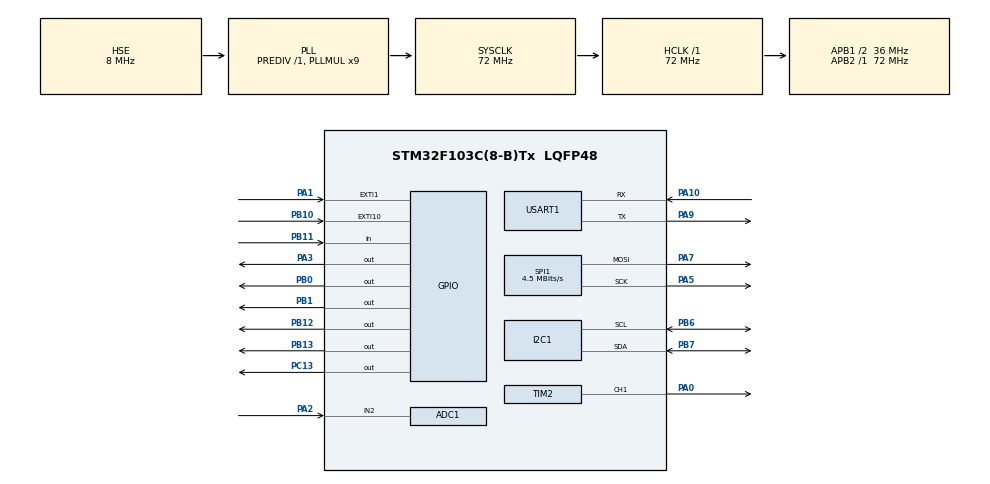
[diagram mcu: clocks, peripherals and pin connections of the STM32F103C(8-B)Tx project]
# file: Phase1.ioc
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ADC1.Channel-0\#ChannelRegularConversion=ADC_CHANNEL_2
ADC1.ExternalTrigConv=ADC_EXTERNALTRIGCONV_T3_TRGO
ADC1.NbrOfConversionFlag=1
ADC1.Rank-0\#ChannelRegularConversion=1
ADC1.SamplingTime-0\#ChannelRegularConversion=ADC_SAMPLETIME_1CYCLE_5
ADC1.master=1
Dma.ADC1.1.Direction=DMA_PERIPH_TO_MEMORY
Dma.ADC1.1.Instance=DMA1_Channel1
Dma.ADC1.1.MemDataAlignment=DMA_MDATAALIGN_HALFWORD
Dma.ADC1.1.MemInc=DMA_MINC_ENABLE
Dma.ADC1.1.Mode=DMA_CIRCULAR
Dma.ADC1.1.PeriphDataAlignment=DMA_PDATAALIGN_HALFWORD
Dma.ADC1.1.PeriphInc=DMA_PINC_DISABLE
Dma.ADC1.1.Priority=DMA_PRIORITY_LOW
Dma.Request0=SPI1_TX
Dma.Request1=ADC1
Dma.SPI1_TX.0.Direction=DMA_MEMORY_TO_PERIPH
Dma.SPI1_TX.0.Instance=DMA1_Channel3
Dma.SPI1_TX.0.MemDataAlignment=DMA_MDATAALIGN_BYTE
Dma.SPI1_TX.0.MemInc=DMA_MINC_ENABLE
Dma.SPI1_TX.0.Mode=DMA_NORMAL
Dma.SPI1_TX.0.PeriphDataAlignment=DMA_PDATAALIGN_BYTE
Dma.SPI1_TX.0.PeriphInc=DMA_PINC_DISABLE
Dma.SPI1_TX.0.Priority=DMA_PRIORITY_LOW
Mcu.Family=STM32F1
Mcu.Name=STM32F103C(8-B)Tx
Mcu.Package=LQFP48
NVIC.DMA1_Channel1_IRQn=true\:0\:0\:false\:false\:true\:false\:true\:true
NVIC.DMA1_Channel3_IRQn=true\:0\:0\:false\:false\:true\:false\:true\:true
NVIC.EXTI15_10_IRQn=true\:1\:0\:true\:false\:true\:true\:true\:true
NVIC.EXTI1_IRQn=true\:1\:0\:true\:false\:true\:true\:true\:true
NVIC.PriorityGroup=NVIC_PRIORITYGROUP_4
PA0-WKUP.Signal=S_TIM2_CH1_ETR
PA1.GPIO_ModeDefaultEXTI=GPIO_MODE_IT_RISING_FALLING
PA1.Signal=GPXTI1
PA10.Mode=Asynchronous
PA10.Signal=USART1_RX
PA13.Mode=Serial_Wire
PA13.Signal=SYS_JTMS-SWDIO
PA14.Mode=Serial_Wire
PA14.Signal=SYS_JTCK-SWCLK
PA2.Signal=ADCx_IN2
PA3.Signal=GPIO_Output
PA5.Mode=TX_Only_Simplex_Unidirect_Master
PA5.Signal=SPI1_SCK
PA7.Mode=TX_Only_Simplex_Unidirect_Master
PA7.Signal=SPI1_MOSI
PA9.Mode=Asynchronous
PA9.Signal=USART1_TX
PB0.Signal=GPIO_Output
PB1.Signal=GPIO_Output
PB10.GPIO_PuPd=GPIO_PULLDOWN
PB10.Signal=GPXTI10
PB11.Signal=GPIO_Input
PB12.Signal=GPIO_Output
PB13.Signal=GPIO_Output
PB6.Mode=I2C
PB6.Signal=I2C1_SCL
PB7.Mode=I2C
PB7.Signal=I2C1_SDA
PC13-TAMPER-RTC.Signal=GPIO_Output
PD0-OSC_IN.Mode=HSE-External-Oscillator
PD0-OSC_IN.Signal=RCC_OSC_IN
PD1-OSC_OUT.Mode=HSE-External-Oscillator
PD1-OSC_OUT.Signal=RCC_OSC_OUT
ProjectManager.HeapSize=0x200
ProjectManager.StackSize=0x400
ProjectManager.TargetToolchain=STM32CubeIDE
RCC.ADCPresc=RCC_ADCPCLK2_DIV6
RCC.AHBFreq_Value=72000000
RCC.APB1CLKDivider=RCC_HCLK_DIV2
RCC.APB1Freq_Value=36000000
RCC.APB1TimFreq_Value=72000000
RCC.APB2Freq_Value=72000000
RCC.APB2TimFreq_Value=72000000
RCC.HCLKFreq_Value=72000000
RCC.PLLMUL=RCC_PLL_MUL9
RCC.PLLSourceVirtual=RCC_PLLSOURCE_HSE
RCC.SYSCLKFreq_VALUE=72000000
RCC.SYSCLKSource=RCC_SYSCLKSOURCE_PLLCLK
RCC.USBFreq_Value=72000000
SH.ADCx_IN2.0=ADC1_IN2,IN2
SH.S_TIM2_CH1_ETR.0=TIM2_CH1,PWM Generation1 CH1
SPI1.BaudRatePrescaler=SPI_BAUDRATEPRESCALER_16
SPI1.CalculateBaudRate=4.5 MBits/s
SPI1.Direction=SPI_DIRECTION_2LINES
SPI1.Mode=SPI_MODE_MASTER
SPI1.VirtualType=VM_MASTER
TIM2.AutoReloadPreload=TIM_AUTORELOAD_PRELOAD_ENABLE
TIM2.Channel-PWM\ Generation1\ CH1=TIM_CHANNEL_1
TIM2.Period=47999
TIM2.Prescaler=2
TIM3.AutoReloadPreload=TIM_AUTORELOAD_PRELOAD_ENABLE
TIM3.Period=47999
TIM3.Prescaler=2
TIM3.TIM_MasterOutputTrigger=TIM_TRGO_UPDATE
USART1.VirtualMode=VM_ASYNC
VP_TIM3_VS_ClockSourceINT.Mode=Internal
board=custom

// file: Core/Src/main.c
/* USER CODE BEGIN Header */
/**
  ******************************************************************************
  * @file           : main.c
  * @brief          : Main program body
  ******************************************************************************
  * @attention
  *
  * Copyright (c) 2025 STMicroelectronics.
  * All rights reserved.
  *
  * This software is licensed under terms that can be found in the LICENSE file
  * in the root directory of this software component.
  * If no LICENSE file comes with this software, it is provided AS-IS.
  *
  ******************************************************************************
  */
/* USER CODE END Header */
#include "main.h"

/* USER CODE BEGIN Includes */
#include <stdio.h>
#include <string.h>
#include <stdbool.h>
#include "u8g2.h"
#include "MAX30100_PulseOximeter.h" // For Heart Rate sensor
#include <math.h>
/* USER CODE END Includes */

/* USER CODE BEGIN PTD */
#define WAVEFORM_BUFFER_SIZE 512 // Reduced buffer size for efficiency
// MERGE: Brought over the Circular Buffer definition
typedef struct {
    uint16_t buffer[WAVEFORM_BUFFER_SIZE];
    int head; // Index of the next position to write to
} CircularBuffer_t;

typedef struct {
    uint8_t seconds;
    uint8_t minutes;
    uint8_t hour;
    uint8_t dayofweek;
    uint8_t dayofmonth;
    uint8_t month;
    uint8_t year;
} DS3231_Time;

/* USER CODE END PTD */

/* USER CODE BEGIN PD */
// --- Page state defines ---
#define PAGE_TEMP 0
#define PAGE_HEART_RATE 1

// --- Temperature Sensor Defines ---
#define MLX90614_I2C_ADDRESS    (0x5A << 1)
#define MLX90614_TOBJ1          0x07
#define DS3231_I2C_ADDRESS      (0x68 << 1) // Added RTC I2C address

// --- Heart Rate Sensor Defines ---
#define X_SCALE 4

// --- NEW: Power Management Variables ---
#define ACTIVE_TIMEOUT_MS 180000          // 2 minutes (3 * 60 * 1000)
#define ADC_BUF_LEN 16
/* USER CODE END PD */

ADC_HandleTypeDef hadc1;
DMA_HandleTypeDef hdma_adc1;

I2C_HandleTypeDef hi2c1;

SPI_HandleTypeDef hspi1;
DMA_HandleTypeDef hdma_spi1_tx;

TIM_HandleTypeDef htim2;
TIM_HandleTypeDef htim3;

UART_HandleTypeDef huart1;

/* USER CODE BEGIN PV */

// --- Display & State Variables ---
u8g2_t u8g2;
uint8_t currentPage = PAGE_TEMP;
volatile uint8_t spi_dma_finished = 1; // MERGE: DMA flag

// --- Temperature Page Variables ---
float object_temp_c;
char temp_str[20], temp[30];

// --- Heart Rate Page Variables ---
PulseOximeter_t pox;
CircularBuffer_t waveform; // MERGE: Use circular buffer
float bpm = 0;
uint8_t spO2 = 0;
char statusStr[32] = "--";
char bpmStr[32] = "--";
uint16_t waveformMin = 65535;
uint16_t waveformMax = 0;
bool fan_is_running = false;
uint32_t fan_stop_timestamp = 0;
volatile bool onBeatDetected = false;
volatile bool beat_indicator_active = false;
volatile uint32_t beat_timestamp = 0;
volatile bool heartbeat_active = false;
volatile uint32_t heartbeat_timestamp = 0;

// --- NEW: Power Management Variables ---
volatile bool is_active = false;            // Start in the inactive (sleep) state
volatile uint32_t last_motion_time = 0;   // Timestamp of the last detected motion
volatile bool just_woke_up = false;         // NEW: Flag to handle tasks right after waking
volatile bool is_in_calibration = true;   // NEW: Flag for 1-minute startup calibration

//Flame sensor
uint16_t adc_buf[ADC_BUF_LEN];
volatile bool adcDataReadyFlag = false;
uint16_t avg_adc_val=0;
/* USER CODE END PV */

void SystemClock_Config(void);
static void MX_GPIO_Init(void);
static void MX_DMA_Init(void);
static void MX_I2C1_Init(void);
static void MX_TIM3_Init(void);
static void MX_USART1_UART_Init(void);
static void MX_SPI1_Init(void);
static void MX_ADC1_Init(void);
static void MX_TIM2_Init(void);
/* USER CODE BEGIN PFP */

// Display driver prototypes
uint8_t u8x8_byte_4wire_hw_spi(u8x8_t *u8x8, uint8_t msg, uint8_t arg_int, void *arg_ptr);
uint8_t u8x8_stm32_gpio_and_delay(u8x8_t *u8x8, uint8_t msg, uint8_t arg_int, void *arg_ptr);

// Page drawing prototypes
void drawTemperaturePage(void);
void drawHeartRatePage(void);

// Helper function prototypes
void I2C_ClearBus(I2C_HandleTypeDef *hi2c);
void onBeatDetected_callback();
int32_t map(int32_t x, int32_t in_min, int32_t in_max, int32_t out_min, int32_t out_max);
void CBuffer_init(CircularBuffer_t *cb);
void CBuffer_add(CircularBuffer_t *cb, uint16_t value);
uint16_t CBuffer_get(CircularBuffer_t *cb, int index);

//flame sensor
void flameSensor(void);
void drawFlameAlertPage(int fan_speed_percent);

/* USER CODE END PFP */

/* USER CODE BEGIN 0 */

void CBuffer_init(CircularBuffer_t *cb) {
    cb->head = 0;
    memset(cb->buffer, 0, sizeof(cb->buffer));
}

void CBuffer_add(CircularBuffer_t *cb, uint16_t value) {
    cb->buffer[cb->head] = value;
    cb->head = (cb->head + 1) % WAVEFORM_BUFFER_SIZE;
}

uint16_t CBuffer_get(CircularBuffer_t *cb, int index) {
    int physical_index = (cb->head + index) % WAVEFORM_BUFFER_SIZE;
    return cb->buffer[physical_index];
}

void I2C_ClearBus(I2C_HandleTypeDef *hi2c) {
    GPIO_InitTypeDef GPIO_InitStruct;

    // First, de-initialize the I2C peripheral to take control of the pins
    HAL_I2C_DeInit(hi2c);

    // Re-configure the SCL pin as a GPIO output (open-drain)
    GPIO_InitStruct.Pin = GPIO_PIN_6;
    GPIO_InitStruct.Mode = GPIO_MODE_OUTPUT_OD;
    GPIO_InitStruct.Pull = GPIO_PULLUP;
    GPIO_InitStruct.Speed = GPIO_SPEED_FREQ_HIGH;
    HAL_GPIO_Init(GPIOB, &GPIO_InitStruct);

    if (HAL_GPIO_ReadPin(GPIOB, GPIO_PIN_6) == GPIO_PIN_RESET)
    {
    // Toggle SCL 9 times to clear the bus
		for(int i = 0; i < 9; i++) {
			HAL_GPIO_WritePin(GPIOB, GPIO_PIN_6, GPIO_PIN_RESET);
			HAL_Delay(1);
			HAL_GPIO_WritePin(GPIOB, GPIO_PIN_6, GPIO_PIN_SET);
			HAL_Delay(1);
			if (HAL_GPIO_ReadPin(GPIOB, GPIO_PIN_7) == GPIO_PIN_SET)
			{
				break; // SDA released
			}
		}

    }
    // After clearing, re-initialize the I2C peripheral
    MX_I2C1_Init();
}

// This will be used to map temperature to the thermometer bar's width.
int32_t map(int32_t x, int32_t in_min, int32_t in_max, int32_t out_min, int32_t out_max) {
  if (in_max == in_min) return out_min;
  return (x - in_min) * (out_max - out_min) / (in_max - in_min) + out_min;
}

void drawHeart(u8g2_t *u8g2, int x, int y, int size)
{
    // Two circles for the top lobes
    u8g2_DrawDisc(u8g2, x - size/4, y, size/4, U8G2_DRAW_ALL);
    u8g2_DrawDisc(u8g2, x + size/4, y, size/4, U8G2_DRAW_ALL);
    // Triangle for the bottom point
    u8g2_DrawTriangle(u8g2, x - size/2, y, x + size/2, y, x, y + size/2 + 1);
}

HAL_StatusTypeDef MLX90614_ReadReg(uint8_t reg_address, uint16_t *data) {
    HAL_StatusTypeDef status;
    uint8_t rx_buffer[3];
    status = HAL_I2C_Mem_Read(&hi2c1, MLX90614_I2C_ADDRESS, reg_address,
                              I2C_MEMADD_SIZE_8BIT, rx_buffer, 3, 100);
    if (status != HAL_OK) return status;
    *data = (uint16_t)rx_buffer[0] | ((uint16_t)rx_buffer[1] << 8);
    return HAL_OK;
}

float MLX90614_CalcTemp(uint16_t raw_data) {
    return (float)raw_data * 0.02 - 273.15;
}

uint8_t BCD_to_Decimal(uint8_t bcd) {
    return (bcd >> 4) * 10 + (bcd & 0x0F);
}

HAL_StatusTypeDef DS3231_GetTime(DS3231_Time *time) {
    uint8_t rx_buffer[7];
    HAL_StatusTypeDef status;
    status = HAL_I2C_Mem_Read(&hi2c1, DS3231_I2C_ADDRESS, 0x00,
                              I2C_MEMADD_SIZE_8BIT, rx_buffer, 7, 100);
    if (status == HAL_OK) {
        time->seconds    = BCD_to_Decimal(rx_buffer[0]);
        time->minutes    = BCD_to_Decimal(rx_buffer[1]);
        time->hour       = BCD_to_Decimal(rx_buffer[2]);
        time->dayofmonth = BCD_to_Decimal(rx_buffer[4]);
        time->month      = BCD_to_Decimal(rx_buffer[5]);
        time->year       = BCD_to_Decimal(rx_buffer[6]);
    }
    return status;
}

/* USER CODE END 0 */

int main(void)
{

  /* MCU Configuration--------------------------------------------------------*/

  /* Reset of all peripherals, Initializes the Flash interface and the Systick. */
  HAL_Init();

  /* Configure the system clock */
  SystemClock_Config();

  /* Initialize all configured peripherals */
  MX_GPIO_Init();
  MX_DMA_Init();
  MX_I2C1_Init();
  MX_TIM3_Init();
  MX_USART1_UART_Init();
  MX_SPI1_Init();
  MX_ADC1_Init();
  MX_TIM2_Init();
  /* USER CODE BEGIN 2 */
  // --- Start Timers, ADC, and PWM ---
  HAL_TIM_Base_Start(&htim3);
  HAL_TIM_PWM_Start(&htim2, TIM_CHANNEL_1);
  //Calibrate the adc on power-up for better accuracy
  HAL_ADCEx_Calibration_Start(&hadc1);
  //Read the sensor once to get the ambient level
  HAL_ADC_Start_DMA(&hadc1,(uint32_t*)adc_buf,ADC_BUF_LEN);

  u8g2_Setup_sh1106_128x64_noname_f(&u8g2, U8G2_R0, u8x8_byte_4wire_hw_spi, u8x8_stm32_gpio_and_delay);
  u8g2_InitDisplay(&u8g2);
  u8g2_SetPowerSave(&u8g2, 0); // Put display to wake

  I2C_ClearBus(&hi2c1); // Clear bus for both I2C sensors

  // MERGE: Initialize Heart Rate Sensor and Circular Buffer
  CBuffer_init(&waveform);
  PulseOximeter_init(&pox);
  // --- REGISTER THE CALLBACK ---
  BeatDetector_setOnBeatDetectedCallback(&pox.beatDetector, onBeatDetected_callback);

  if (PulseOximeter_begin(&pox, &hi2c1)) {
    PulseOximeter_setIRLedCurrent(&pox, MAX30100_LED_CURR_14_2MA);
  } else {
    // Handle heart rate sensor init error if needed
    while(1);
  }

  // --- CHANGE: Set initial state to ACTIVE and start timers ---
  is_active = true;
  just_woke_up = true; // Set to true to run wake-up routine once
  last_motion_time = HAL_GetTick(); // Start the 2-minute timer immediately
  uint32_t start_time = HAL_GetTick(); // Record the power-on time for calibration
  uint32_t last_sensor_read_time = 0;
  uint32_t last_display_update_time = 0;
  uint16_t raw_object_temp;
  uint8_t last_ir_state = GPIO_PIN_SET; // Start with the sensor uncovered
  uint32_t last_flip_time = 0;

  /* USER CODE END 2 */

  /* Infinite loop */
  while (1)
  {

    /* USER CODE BEGIN 3 */

		// MERGE: ALWAYS update the heart rate sensor to keep the algorithm running
		PulseOximeter_update(&pox);

	    // --- FLAME SENSOR (HIGHEST PRIORITY) ---
	    // 1. Check if new ADC data is available
	    if (adcDataReadyFlag == true) {
	        adcDataReadyFlag = false; // Reset the flag immediately
	        flameSensor(); // Calculate the average flame sensor value
	    }
	    // Let's define two thresholds now
	    const uint16_t FLAME_ALERT_THRESHOLD = 1000; // A very strong flame
	    const uint16_t FLAME_DETECT_THRESHOLD = 3500; // Any detectable flame
	    // 2. Check if a high-priority flame event has occurred
	    // Let's define a flame alert threshold, e.g., 3500
	    if (avg_adc_val < FLAME_DETECT_THRESHOLD && avg_adc_val > 10)
	    {
	        // --- FLAME ALERT MODE ---
	        fan_is_running = true; // Mark the fan as active
	        fan_stop_timestamp = 0;  // Reset the stop timer every time flame is seen

	        // 2. Set the Fan Speed based on flame intensity
	        if (avg_adc_val < FLAME_ALERT_THRESHOLD) { // Strong Flame
	            // Set fan to MAX SPEED (100%)
	        	__HAL_TIM_SET_COMPARE(&htim2, TIM_CHANNEL_1, 48000);
		        // Sound the buzzer (assuming buzzer is on PB13)
		        HAL_GPIO_WritePin(GPIOB, GPIO_PIN_13, GPIO_PIN_RESET); // Active low buzzer

		        // Show the alert page
		        drawFlameAlertPage(100);
	        } else { // Weaker Flame (between 1000 and 3499)
	            // Set fan to HALF SPEED (50%)
	        	__HAL_TIM_SET_COMPARE(&htim2, TIM_CHANNEL_1, 33600);
		        // Sound the buzzer (assuming buzzer is on PB13)
		        HAL_GPIO_WritePin(GPIOB, GPIO_PIN_13, GPIO_PIN_RESET); // Active low buzzer

		        // Show the alert page
		        drawFlameAlertPage(70);
	        }

	        // Skip all other logic
	        continue;
	    }
		 else{
		        // Check if the fan was running and needs to be turned off after a delay
		        if (fan_is_running) {
			        // --- NO FLAME DETECTED ---
			        HAL_GPIO_WritePin(GPIOB, GPIO_PIN_13, GPIO_PIN_SET); // Buzzer OFF
					last_motion_time = HAL_GetTick();

		            if (fan_stop_timestamp == 0) {
		                // This is the first moment we've seen the flame is gone.
		                // Record the timestamp.
		            	__HAL_TIM_SET_COMPARE(&htim2, TIM_CHANNEL_1, 33600);
		                fan_stop_timestamp = HAL_GetTick();
		            }

		            // Check if 10 seconds (10000 ms) have passed since the flame disappeared
		            if (HAL_GetTick() - fan_stop_timestamp > 10000) {
		                // 10 seconds have passed, so turn the fan off and reset state
		                __HAL_TIM_SET_COMPARE(&htim2, TIM_CHANNEL_1, 0); // Fan OFF
		                fan_is_running = false;
		                fan_stop_timestamp = 0;
		            }
		        }
		        // --- NEW: Handle the 1-minute calibration period ---
			if (is_in_calibration) {
				if (HAL_GetTick() - start_time > 60000) { // 60 seconds have passed
					is_in_calibration = false;
				}
			}

			if (is_active)
			{
				// --- CHECK IF WE JUST WOKE UP ---
				if (just_woke_up) {
					just_woke_up = false; // Clear the flag

					// Now that the clock is stable, wake up the display
					u8g2_SetPowerSave(&u8g2, 0);

					// Re-initialize the I2C bus and the HR sensor to give them a fresh start
					I2C_ClearBus(&hi2c1);

					// Wake the sensor up
					MAX30100_resume(&pox.hrm);
				}

				// --- ACTIVE MODE ---
			if (pox.latestIRValue > 0) {
				CBuffer_add(&waveform, pox.latestIRValue);
			}

			if(onBeatDetected == true){
				onBeatDetected = false;
				if(bpm>40 && (currentPage == PAGE_HEART_RATE)){
					 HAL_GPIO_WritePin(GPIOC, GPIO_PIN_13, GPIO_PIN_RESET);
					 HAL_GPIO_WritePin(GPIOB, GPIO_PIN_13, GPIO_PIN_RESET);
						last_motion_time = HAL_GetTick();

					 // Trigger heart animation
					 heartbeat_active = true;
					 heartbeat_timestamp = HAL_GetTick();

						// Start the timer for the LED/Buzzer blip
						beat_indicator_active = true;
						beat_timestamp = HAL_GetTick();
				}
			}

			// This block is checked on every loop to see if it's time to turn things off.
			if (beat_indicator_active && (HAL_GetTick() - beat_timestamp > 50)) {
				// Turn OFF the LED and Buzzer
				HAL_GPIO_WritePin(GPIOC, GPIO_PIN_13, GPIO_PIN_SET);
				HAL_GPIO_WritePin(GPIOB, GPIO_PIN_13, GPIO_PIN_SET);

				beat_indicator_active = false; // Stop checking until the next beat
			}

			// --- 1. PERIODIC SENSOR READS AND CALCULATIONS (every 500ms) ---
			if(HAL_GetTick() - last_sensor_read_time >= 500){
				last_sensor_read_time = HAL_GetTick();
				//Read the temperature from the MLX90614 sensor
				if (MLX90614_ReadReg(MLX90614_TOBJ1, &raw_object_temp) == HAL_OK) {
					object_temp_c = MLX90614_CalcTemp(raw_object_temp);
				} else {
					object_temp_c = -99.9; // Use a specific value to indicate an error
				}
				// 2. Format the temperature value into a display-ready string
				snprintf(temp_str, sizeof(temp_str), "%.1f C", object_temp_c);

				// Get Heart Rate Sensor Data
				bpm = PulseOximeter_getHeartRate(&pox);
				spO2 = PulseOximeter_getSpO2(&pox);

				if (bpm > 40 && (currentPage == PAGE_HEART_RATE)) {
					sprintf(bpmStr, "%.0f", bpm);
					sprintf(statusStr, "%u%%", spO2);

						// Recalculate waveform scale
						waveformMin = 65535;
						waveformMax = 0;
						for (int i = 0; i < WAVEFORM_BUFFER_SIZE; ++i) {
							uint16_t val = CBuffer_get(&waveform, i);
							if (val > waveformMax) waveformMax = val;
							if (val < waveformMin) waveformMin = val;
						}
				} else {
					sprintf(bpmStr, "--");
					sprintf(statusStr, "--");
				}
			}
			// --- 2. CHECK FOR PAGE SWITCH (IR SENSOR) ---
			uint8_t current_ir_state = HAL_GPIO_ReadPin(GPIOB, GPIO_PIN_11);

			// Check for a "falling edge" (from not-covered to covered)
			// and make sure enough time has passed since the last flip (debounce)
			if (current_ir_state == GPIO_PIN_RESET && last_ir_state == GPIO_PIN_SET && (HAL_GetTick() - last_flip_time > 500))
			{
				// Toggle the page
				currentPage = (currentPage == PAGE_TEMP) ? PAGE_HEART_RATE : PAGE_TEMP;

				// Record the time of this flip to prevent rapid re-triggering
				last_flip_time = HAL_GetTick();
			}
			// Update the last state for the next loop iteration
			last_ir_state = current_ir_state;

			// --- 3. DYNAMIC DISPLAY UPDATE ---
			uint32_t display_interval = (currentPage == PAGE_HEART_RATE) ? 40 : 200; // Fast for HR, slow for Temp
			if (HAL_GetTick() - last_display_update_time > display_interval) {
				last_display_update_time = HAL_GetTick();

				// Call the appropriate drawing function based on the current page
				if (currentPage == PAGE_TEMP) {
					drawTemperaturePage();
				} else {
					drawHeartRatePage();
				}
			}
			HAL_Delay(2);
			// Check if the 5-minute active timer has expired
			if (HAL_GetTick() - last_motion_time > ACTIVE_TIMEOUT_MS)
			{
				is_active = false;        // Go back to the inactive state
				u8g2_SetPowerSave(&u8g2, 1); // Put the display to sleep
			}
		  }
		  else
		  {
			  // --- DEEP SLEEP MODE ---
			  MAX30100_shutdown(&pox.hrm);

			  // Halt the CPU and wait for an interrupt (from the PIR sensor)
			  HAL_PWR_EnterSLEEPMode(PWR_MAINREGULATOR_ON, PWR_SLEEPENTRY_WFI);
		  }
		 }
  }

  /* USER CODE END 3 */
}

void SystemClock_Config(void)
{
  RCC_OscInitTypeDef RCC_OscInitStruct = {0};
  RCC_ClkInitTypeDef RCC_ClkInitStruct = {0};
  RCC_PeriphCLKInitTypeDef PeriphClkInit = {0};

  /** Initializes the RCC Oscillators according to the specified parameters
  * in the RCC_OscInitTypeDef structure.
  */
  RCC_OscInitStruct.OscillatorType = RCC_OSCILLATORTYPE_HSE;
  RCC_OscInitStruct.HSEState = RCC_HSE_ON;
  RCC_OscInitStruct.HSEPredivValue = RCC_HSE_PREDIV_DIV1;
  RCC_OscInitStruct.HSIState = RCC_HSI_ON;
  RCC_OscInitStruct.PLL.PLLState = RCC_PLL_ON;
  RCC_OscInitStruct.PLL.PLLSource = RCC_PLLSOURCE_HSE;
  RCC_OscInitStruct.PLL.PLLMUL = RCC_PLL_MUL9;
  if (HAL_RCC_OscConfig(&RCC_OscInitStruct) != HAL_OK)
  {
    Error_Handler();
  }

  /** Initializes the CPU, AHB and APB buses clocks
  */
  RCC_ClkInitStruct.ClockType = RCC_CLOCKTYPE_HCLK|RCC_CLOCKTYPE_SYSCLK
                              |RCC_CLOCKTYPE_PCLK1|RCC_CLOCKTYPE_PCLK2;
  RCC_ClkInitStruct.SYSCLKSource = RCC_SYSCLKSOURCE_PLLCLK;
  RCC_ClkInitStruct.AHBCLKDivider = RCC_SYSCLK_DIV1;
  RCC_ClkInitStruct.APB1CLKDivider = RCC_HCLK_DIV2;
  RCC_ClkInitStruct.APB2CLKDivider = RCC_HCLK_DIV1;

  if (HAL_RCC_ClockConfig(&RCC_ClkInitStruct, FLASH_LATENCY_2) != HAL_OK)
  {
    Error_Handler();
  }
  PeriphClkInit.PeriphClockSelection = RCC_PERIPHCLK_ADC;
  PeriphClkInit.AdcClockSelection = RCC_ADCPCLK2_DIV6;
  if (HAL_RCCEx_PeriphCLKConfig(&PeriphClkInit) != HAL_OK)
  {
    Error_Handler();
  }
}

static void MX_ADC1_Init(void)
{

  ADC_ChannelConfTypeDef sConfig = {0};

  /** Common config
  */
  hadc1.Instance = ADC1;
  hadc1.Init.ScanConvMode = ADC_SCAN_DISABLE;
  hadc1.Init.ContinuousConvMode = DISABLE;
  hadc1.Init.DiscontinuousConvMode = DISABLE;
  hadc1.Init.ExternalTrigConv = ADC_EXTERNALTRIGCONV_T3_TRGO;
  hadc1.Init.DataAlign = ADC_DATAALIGN_RIGHT;
  hadc1.Init.NbrOfConversion = 1;
  if (HAL_ADC_Init(&hadc1) != HAL_OK)
  {
    Error_Handler();
  }

  /** Configure Regular Channel
  */
  sConfig.Channel = ADC_CHANNEL_2;
  sConfig.Rank = ADC_REGULAR_RANK_1;
  sConfig.SamplingTime = ADC_SAMPLETIME_1CYCLE_5;
  if (HAL_ADC_ConfigChannel(&hadc1, &sConfig) != HAL_OK)
  {
    Error_Handler();
  }

}

static void MX_I2C1_Init(void)
{

  hi2c1.Instance = I2C1;
  hi2c1.Init.ClockSpeed = 100000;
  hi2c1.Init.DutyCycle = I2C_DUTYCYCLE_2;
  hi2c1.Init.OwnAddress1 = 0;
  hi2c1.Init.AddressingMode = I2C_ADDRESSINGMODE_7BIT;
  hi2c1.Init.DualAddressMode = I2C_DUALADDRESS_DISABLE;
  hi2c1.Init.OwnAddress2 = 0;
  hi2c1.Init.GeneralCallMode = I2C_GENERALCALL_DISABLE;
  hi2c1.Init.NoStretchMode = I2C_NOSTRETCH_DISABLE;
  if (HAL_I2C_Init(&hi2c1) != HAL_OK)
  {
    Error_Handler();
  }

}

static void MX_SPI1_Init(void)
{

  /* SPI1 parameter configuration*/
  hspi1.Instance = SPI1;
  hspi1.Init.Mode = SPI_MODE_MASTER;
  hspi1.Init.Direction = SPI_DIRECTION_2LINES;
  hspi1.Init.DataSize = SPI_DATASIZE_8BIT;
  hspi1.Init.CLKPolarity = SPI_POLARITY_LOW;
  hspi1.Init.CLKPhase = SPI_PHASE_1EDGE;
  hspi1.Init.NSS = SPI_NSS_SOFT;
  hspi1.Init.BaudRatePrescaler = SPI_BAUDRATEPRESCALER_16;
  hspi1.Init.FirstBit = SPI_FIRSTBIT_MSB;
  hspi1.Init.TIMode = SPI_TIMODE_DISABLE;
  hspi1.Init.CRCCalculation = SPI_CRCCALCULATION_DISABLE;
  hspi1.Init.CRCPolynomial = 10;
  if (HAL_SPI_Init(&hspi1) != HAL_OK)
  {
    Error_Handler();
  }

}

static void MX_TIM2_Init(void)
{

  TIM_MasterConfigTypeDef sMasterConfig = {0};
  TIM_OC_InitTypeDef sConfigOC = {0};

  htim2.Instance = TIM2;
  htim2.Init.Prescaler = 2;
  htim2.Init.CounterMode = TIM_COUNTERMODE_UP;
  htim2.Init.Period = 47999;
  htim2.Init.ClockDivision = TIM_CLOCKDIVISION_DIV1;
  htim2.Init.AutoReloadPreload = TIM_AUTORELOAD_PRELOAD_ENABLE;
  if (HAL_TIM_PWM_Init(&htim2) != HAL_OK)
  {
    Error_Handler();
  }
  sMasterConfig.MasterOutputTrigger = TIM_TRGO_RESET;
  sMasterConfig.MasterSlaveMode = TIM_MASTERSLAVEMODE_DISABLE;
  if (HAL_TIMEx_MasterConfigSynchronization(&htim2, &sMasterConfig) != HAL_OK)
  {
    Error_Handler();
  }
  sConfigOC.OCMode = TIM_OCMODE_PWM1;
  sConfigOC.Pulse = 0;
  sConfigOC.OCPolarity = TIM_OCPOLARITY_HIGH;
  sConfigOC.OCFastMode = TIM_OCFAST_DISABLE;
  if (HAL_TIM_PWM_ConfigChannel(&htim2, &sConfigOC, TIM_CHANNEL_1) != HAL_OK)
  {
    Error_Handler();
  }
  HAL_TIM_MspPostInit(&htim2);

}

static void MX_TIM3_Init(void)
{

  TIM_ClockConfigTypeDef sClockSourceConfig = {0};
  TIM_MasterConfigTypeDef sMasterConfig = {0};

  htim3.Instance = TIM3;
  htim3.Init.Prescaler = 2;
  htim3.Init.CounterMode = TIM_COUNTERMODE_UP;
  htim3.Init.Period = 47999;
  htim3.Init.ClockDivision = TIM_CLOCKDIVISION_DIV1;
  htim3.Init.AutoReloadPreload = TIM_AUTORELOAD_PRELOAD_ENABLE;
  if (HAL_TIM_Base_Init(&htim3) != HAL_OK)
  {
    Error_Handler();
  }
  sClockSourceConfig.ClockSource = TIM_CLOCKSOURCE_INTERNAL;
  if (HAL_TIM_ConfigClockSource(&htim3, &sClockSourceConfig) != HAL_OK)
  {
    Error_Handler();
  }
  sMasterConfig.MasterOutputTrigger = TIM_TRGO_UPDATE;
  sMasterConfig.MasterSlaveMode = TIM_MASTERSLAVEMODE_DISABLE;
  if (HAL_TIMEx_MasterConfigSynchronization(&htim3, &sMasterConfig) != HAL_OK)
  {
    Error_Handler();
  }

}

static void MX_USART1_UART_Init(void)
{

  huart1.Instance = USART1;
  huart1.Init.BaudRate = 115200;
  huart1.Init.WordLength = UART_WORDLENGTH_8B;
  huart1.Init.StopBits = UART_STOPBITS_1;
  huart1.Init.Parity = UART_PARITY_NONE;
  huart1.Init.Mode = UART_MODE_TX_RX;
  huart1.Init.HwFlowCtl = UART_HWCONTROL_NONE;
  huart1.Init.OverSampling = UART_OVERSAMPLING_16;
  if (HAL_UART_Init(&huart1) != HAL_OK)
  {
    Error_Handler();
  }

}

static void MX_DMA_Init(void)
{

  /* DMA controller clock enable */
  __HAL_RCC_DMA1_CLK_ENABLE();

  /* DMA interrupt init */
  /* DMA1_Channel1_IRQn interrupt configuration */
  HAL_NVIC_SetPriority(DMA1_Channel1_IRQn, 0, 0);
  HAL_NVIC_EnableIRQ(DMA1_Channel1_IRQn);
  /* DMA1_Channel3_IRQn interrupt configuration */
  HAL_NVIC_SetPriority(DMA1_Channel3_IRQn, 0, 0);
  HAL_NVIC_EnableIRQ(DMA1_Channel3_IRQn);

}

static void MX_GPIO_Init(void)
{
  GPIO_InitTypeDef GPIO_InitStruct = {0};

  /* GPIO Ports Clock Enable */
  __HAL_RCC_GPIOC_CLK_ENABLE();
  __HAL_RCC_GPIOD_CLK_ENABLE();
  __HAL_RCC_GPIOA_CLK_ENABLE();
  __HAL_RCC_GPIOB_CLK_ENABLE();

  /*Configure GPIO pin Output Level */
  HAL_GPIO_WritePin(GPIOC, GPIO_PIN_13, GPIO_PIN_SET);

  /*Configure GPIO pin Output Level */
  HAL_GPIO_WritePin(GPIOA, GPIO_PIN_3, GPIO_PIN_RESET);

  /*Configure GPIO pin Output Level */
  HAL_GPIO_WritePin(GPIOB, GPIO_PIN_0|GPIO_PIN_1|GPIO_PIN_12|GPIO_PIN_13, GPIO_PIN_RESET);

  /*Configure GPIO pin : PC13 */
  GPIO_InitStruct.Pin = GPIO_PIN_13;
  GPIO_InitStruct.Mode = GPIO_MODE_OUTPUT_PP;
  GPIO_InitStruct.Pull = GPIO_NOPULL;
  GPIO_InitStruct.Speed = GPIO_SPEED_FREQ_LOW;
  HAL_GPIO_Init(GPIOC, &GPIO_InitStruct);

  /*Configure GPIO pin : PA1 */
  GPIO_InitStruct.Pin = GPIO_PIN_1;
  GPIO_InitStruct.Mode = GPIO_MODE_IT_RISING_FALLING;
  GPIO_InitStruct.Pull = GPIO_NOPULL;
  HAL_GPIO_Init(GPIOA, &GPIO_InitStruct);

  /*Configure GPIO pin : PA3 */
  GPIO_InitStruct.Pin = GPIO_PIN_3;
  GPIO_InitStruct.Mode = GPIO_MODE_OUTPUT_PP;
  GPIO_InitStruct.Pull = GPIO_NOPULL;
  GPIO_InitStruct.Speed = GPIO_SPEED_FREQ_LOW;
  HAL_GPIO_Init(GPIOA, &GPIO_InitStruct);

  /*Configure GPIO pins : PB0 PB1 PB12 PB13 */
  GPIO_InitStruct.Pin = GPIO_PIN_0|GPIO_PIN_1|GPIO_PIN_12|GPIO_PIN_13;
  GPIO_InitStruct.Mode = GPIO_MODE_OUTPUT_PP;
  GPIO_InitStruct.Pull = GPIO_NOPULL;
  GPIO_InitStruct.Speed = GPIO_SPEED_FREQ_LOW;
  HAL_GPIO_Init(GPIOB, &GPIO_InitStruct);

  /*Configure GPIO pin : PB10 */
  GPIO_InitStruct.Pin = GPIO_PIN_10;
  GPIO_InitStruct.Mode = GPIO_MODE_IT_RISING;
  GPIO_InitStruct.Pull = GPIO_PULLDOWN;
  HAL_GPIO_Init(GPIOB, &GPIO_InitStruct);

  /*Configure GPIO pin : PB11 */
  GPIO_InitStruct.Pin = GPIO_PIN_11;
  GPIO_InitStruct.Mode = GPIO_MODE_INPUT;
  GPIO_InitStruct.Pull = GPIO_NOPULL;
  HAL_GPIO_Init(GPIOB, &GPIO_InitStruct);

  /* EXTI interrupt init*/
  HAL_NVIC_SetPriority(EXTI1_IRQn, 1, 0);
  HAL_NVIC_EnableIRQ(EXTI1_IRQn);

  HAL_NVIC_SetPriority(EXTI15_10_IRQn, 1, 0);
  HAL_NVIC_EnableIRQ(EXTI15_10_IRQn);

}

/* USER CODE BEGIN 4 */

void HAL_ADC_ConvCpltCallback(ADC_HandleTypeDef* hadc){
	//set the flag
	adcDataReadyFlag = true;
}

void flameSensor(void){
  //1. Calculate the average of the buffer
  uint32_t sum=0;
  for(int i=0; i<ADC_BUF_LEN;i++){
	  sum+=adc_buf[i];
  }
  avg_adc_val = sum/ADC_BUF_LEN;

}

void drawFlameAlertPage(int fan_speed_percent)
{
    char fan_speed_str[20];
    sprintf(fan_speed_str, "Fan: %d%%", fan_speed_percent);

    // Simple fan animation state
    static int fan_state = 0;
    fan_state = (fan_state + 1) % 4; // Cycle through 4 states
    char fan_char[] = "|/-\\";

    u8g2_FirstPage(&u8g2);
    do {
        // --- Draw Alert Message ---
        u8g2_SetFont(&u8g2, u8g2_font_ncenB10_tr);
        u8g2_DrawStr(&u8g2, 5, 20, "FLAME ALERT!");

        // --- Draw Fan Speed and Animation ---
        u8g2_SetFont(&u8g2, u8g2_font_7x13B_tr);
        u8g2_DrawStr(&u8g2, 10, 45, fan_speed_str);

        // Draw the spinning character next to the text
        char animation_str[2] = { fan_char[fan_state], '\0' };
        u8g2_DrawStr(&u8g2, 80, 45, animation_str);

    } while (u8g2_NextPage(&u8g2));
}

void HAL_GPIO_EXTI_Callback(uint16_t GPIO_Pin)
{
    // --- NEW: Ignore any triggers during the 1-minute startup calibration ---
    if (is_in_calibration) {
        return;
    }
    // Check if the interrupt was from the PIR Sensor (Motion)
    if (GPIO_Pin == GPIO_PIN_10) {
		// Any valid motion interrupt should reset the inactivity timer.
		last_motion_time = HAL_GetTick();

		 HAL_GPIO_TogglePin(GPIOB, GPIO_PIN_12);
			// If the device was asleep, this interrupt is a wake-up call.
			// Set the flags that the main loop will use to exit sleep mode.
			if (is_active == false) {
				is_active = true;
				just_woke_up = true;
			}
    }
    // Check if the interrupt was from the Flame Sensor's Digital Out
    else if (GPIO_Pin == GPIO_PIN_1) {
        // A flame detection is a high-priority event.
        // Force the device to wake up immediately.
        is_active = true;
        just_woke_up = true;
    }
}

uint8_t u8x8_stm32_gpio_and_delay(u8x8_t *u8x8, uint8_t msg, uint8_t arg_int, void *arg_ptr)
{
    switch(msg) {
        case U8X8_MSG_GPIO_AND_DELAY_INIT:
            HAL_Delay(1);
            break;
        case U8X8_MSG_DELAY_MILLI:
            HAL_Delay(arg_int);
            break;
        case U8X8_MSG_GPIO_CS:
            HAL_GPIO_WritePin(GPIOA, GPIO_PIN_3, arg_int);
            break;
        case U8X8_MSG_GPIO_DC:
            HAL_GPIO_WritePin(GPIOB, GPIO_PIN_1, arg_int);
            break;
        case U8X8_MSG_GPIO_RESET:
            HAL_GPIO_WritePin(GPIOB, GPIO_PIN_0, arg_int);
            break;
        default:
            u8x8_SetGPIOResult(u8x8, 1);
            break;
    }
    return 1;
}

uint8_t u8x8_byte_4wire_hw_spi(u8x8_t *u8x8, uint8_t msg, uint8_t arg_int, void *arg_ptr)
{
    switch(msg) {
        case U8X8_MSG_BYTE_SEND:
            spi_dma_finished = 0;
            HAL_SPI_Transmit_DMA(&hspi1, (uint8_t *)arg_ptr, arg_int);
            while (spi_dma_finished == 0); // Wait for current transfer
            break;
        case U8X8_MSG_BYTE_INIT:
            break;
        case U8X8_MSG_BYTE_SET_DC:
            u8x8_gpio_SetDC(u8x8, arg_int);
            break;
        case U8X8_MSG_BYTE_START_TRANSFER:
            break;
        case U8X8_MSG_BYTE_END_TRANSFER:
            break;
        default:
            return 0;
    }
    return 1;
}

void HAL_SPI_TxCpltCallback(SPI_HandleTypeDef *hspi)
{
  if (hspi->Instance == SPI1)
  {
    spi_dma_finished = 1;
  }
}

void drawTemperaturePage(void)
{
    u8g2_ClearBuffer(&u8g2);   // Clear old contents

    DS3231_Time currentTime;
    DS3231_GetTime(&currentTime);

    char time_str[10];
    char date_str[16];

    snprintf(time_str, sizeof(time_str), "%02d:%02d", currentTime.hour, currentTime.minutes);
    snprintf(date_str, sizeof(date_str), "%02d/%02d/20%02d", currentTime.dayofmonth, currentTime.month, currentTime.year);

	// 3. Draw the temperature on the OLED display
	u8g2_FirstPage(&u8g2);
	do {
        // --- Draw the top status bar line ---
        // --- Draw Status Bar ---
        u8g2_SetFont(&u8g2, u8g2_font_6x10_tf);
        // Draw time on the left
        u8g2_DrawStr(&u8g2, 2, 10, time_str);
        // Draw date on the right
        u8g2_uint_t date_width = u8g2_GetStrWidth(&u8g2, date_str);
        u8g2_DrawStr(&u8g2, 126 - date_width, 10, date_str);
        // Draw separator line
        u8g2_DrawHLine(&u8g2, 0, 12, 128); // A line at y=12

        // --- Draw the SMALLER Thermometer Icon ---
        // Bulb (radius 6) and Stem (22 pixels tall)
        u8g2_DrawCircle(&u8g2, 20, 53, 6, U8G2_DRAW_ALL);
        u8g2_DrawRFrame(&u8g2, 17, 28, 7, 25, 2);

        // --- Animate the SMALLER fill ---
        // Using a 10°C to 40°C range, mapped to the new 18px stem height
        long mercury_height = map((long)(object_temp_c * 10), 100, 500, 0, 18);
        if (mercury_height < 0) mercury_height = 0;
        if (mercury_height > 18) mercury_height = 18;
        // Fill the bulb and stem
        u8g2_DrawDisc(&u8g2, 20, 53, 4, U8G2_DRAW_ALL);
        if (mercury_height > 0) {
            u8g2_DrawBox(&u8g2, 19, 47 - mercury_height, 3, mercury_height);
        }

        // --- Draw the Text Elements ---
        // Draw the "TEMPERATURE" label in a small font
        u8g2_SetFont(&u8g2, u8g2_font_5x8_tr);
        u8g2_DrawStr(&u8g2, 40, 28, "TEMPERATURE");

        // Format the temperature as a FLOAT with one decimal place
        snprintf(temp_str, sizeof(temp_str), "%.1f \xb0" "C", object_temp_c);
        // Draw the temperature value in a medium font
        u8g2_SetFont(&u8g2, u8g2_font_ncenB12_tr);
        u8g2_DrawStr(&u8g2, 40, 54, temp_str);

    } while (u8g2_NextPage(&u8g2));
}

/**
  * @brief  Draws the complete Heart Rate Monitor page.
  */
void drawHeartRatePage(void)
{
    // MERGE: This is the full drawing logic from our previous project
    u8g2_FirstPage(&u8g2);
    do {
        // --- Draw Title and Top Separator ---
        u8g2_SetFont(&u8g2, u8g2_font_5x7_tr);
        u8g2_DrawStr(&u8g2, 36, 6, "HEART MONITOR");
        u8g2_DrawHLine(&u8g2, 0, 8, 128);

        // --- Draw BPM Vitals (Left Side) ---
        u8g2_SetFont(&u8g2, u8g2_font_ncenB10_tr);
        u8g2_DrawStr(&u8g2, 8, 25, bpmStr);
        u8g2_SetFont(&u8g2, u8g2_font_5x8_tr);
        u8g2_DrawStr(&u8g2, 12, 35, "BPM");

        // --- Draw SpO2 Vitals (Right Side) ---
        u8g2_SetFont(&u8g2, u8g2_font_ncenB10_tr);
        u8g2_DrawStr(&u8g2, 54, 25, statusStr);
        u8g2_SetFont(&u8g2, u8g2_font_5x8_tr);
        u8g2_DrawStr(&u8g2, 52, 35, "SpO2");

        // --- Heart Animation ---
        if (heartbeat_active) {
            uint32_t elapsed = HAL_GetTick() - heartbeat_timestamp;
            if (elapsed < 300) {
                float phase = (elapsed / 300.0f) * 3.14159f;
                float scale = 1.0f + 0.4f * sinf(phase);
                drawHeart(&u8g2, 108, 20, (int)(18 * scale));
            } else {
                heartbeat_active = false;
            }
        }
        if (!heartbeat_active) {
            drawHeart(&u8g2, 108, 20, 18); // Resting heart
        }

        // --- Draw Horizontal Separator ---
        u8g2_DrawHLine(&u8g2, 0, 38, 128);

        // --- Draw Waveform ---
        if (bpm > 40) {
            if (waveformMax == waveformMin) {
                waveformMax = waveformMin + 1; // Avoid division by zero
            }
            for (int i = X_SCALE; i < WAVEFORM_BUFFER_SIZE; i += X_SCALE) {
                int32_t p1 = map(CBuffer_get(&waveform, i-X_SCALE), waveformMin, waveformMax, 63, 45);
                int32_t p2 = map(CBuffer_get(&waveform, i), waveformMin, waveformMax, 63, 45);
                u8g2_DrawLine(&u8g2, (i - X_SCALE) / X_SCALE, p1, i / X_SCALE, p2);
            }
        }
    } while (u8g2_NextPage(&u8g2));
}

void onBeatDetected_callback()
{
	onBeatDetected = true;
}

/* USER CODE END 4 */

void Error_Handler(void)
{
  __disable_irq();
  while (1)
  {
  }
}
